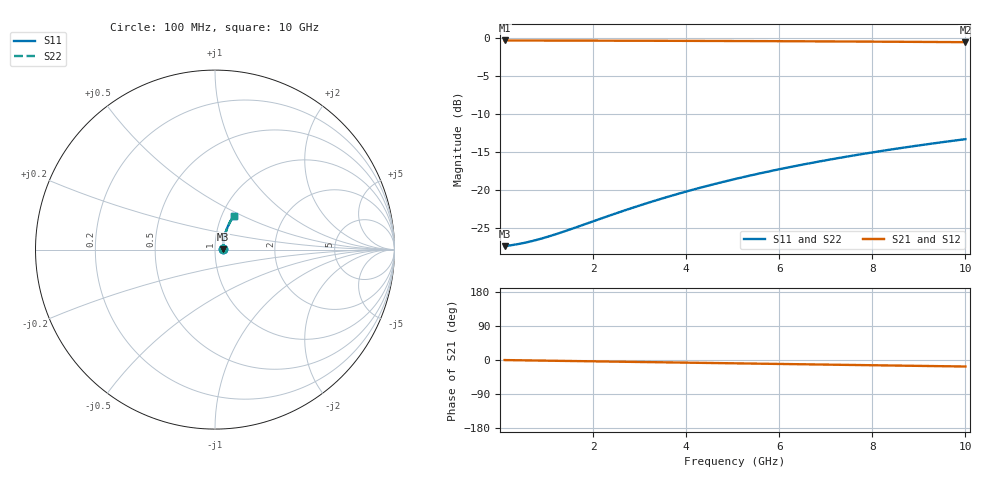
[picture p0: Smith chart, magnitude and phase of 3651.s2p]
# Hz S RI R 50.00
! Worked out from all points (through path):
!   100 points, 100 MHz to 10 GHz, reference 50 ohm
!   highest |S21| = -0.38 dB at 100 MHz (marker M1); lowest = -0.6 dB at 10 GHz (marker M2)
!   group delay of S21, straight-line fit = 4.78 ps
!   lowest |S11| = -27.4 dB at 100 MHz (marker M3), VSWR 1.09, Z = 54.4 + j0.223 ohm
!   |S11| at or under -10 dB: start of sweep to end of sweep
!   |S22| runs from -27.4 to -13.4 dB; largest |S21 - S12| = 0
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1e8  0.0425 0.00204  0.9575 -0.00292  0.9575 -0.00292  0.0425 0.00204
3e8  0.043 0.00612  0.957 -0.00876  0.957 -0.00876  0.043 0.00612
5e8  0.0434 0.0102  0.9566 -0.0146  0.9566 -0.0146  0.0434 0.0102
8e8  0.0439 0.0163  0.956 -0.0233  0.956 -0.0233  0.0439 0.0163
1e9  0.0443 0.0204  0.9556 -0.0291  0.9556 -0.0291  0.0443 0.0204
1.2e9  0.0447 0.0244  0.9552 -0.0349  0.9552 -0.0349  0.0447 0.0244
1.8e9  0.0462 0.0365  0.9537 -0.0523  0.9537 -0.0523  0.0462 0.0365
2.3e9  0.0477 0.0466  0.9521 -0.0668  0.9521 -0.0668  0.0477 0.0466
2.7e9  0.0491 0.0546  0.9506 -0.0783  0.9506 -0.0783  0.0491 0.0546
3.1e9  0.0506 0.0625  0.949 -0.0898  0.949 -0.0898  0.0506 0.0625
3.4e9  0.0519 0.0685  0.9476 -0.0983  0.9476 -0.0983  0.0519 0.0685
3.8e9  0.0538 0.0763  0.9456 -0.1097  0.9456 -0.1097  0.0538 0.0763
4.2e9  0.0559 0.0841  0.9434 -0.121  0.9434 -0.121  0.0559 0.0841
4.6e9  0.0581 0.0919  0.941 -0.1323  0.941 -0.1323  0.0581 0.0919
5.1e9  0.0612 0.1014  0.9378 -0.1463  0.9378 -0.1463  0.0612 0.1014
5.5e9  0.0638 0.109  0.935 -0.1573  0.935 -0.1573  0.0638 0.109
5.9e9  0.0666 0.1165  0.932 -0.1684  0.932 -0.1684  0.0666 0.1165
6.7e9  0.0727 0.1312  0.9254 -0.1901  0.9254 -0.1901  0.0727 0.1312
7.5e9  0.0795 0.1456  0.9182 -0.2115  0.9182 -0.2115  0.0795 0.1456
8.4e9  0.0879 0.1612  0.9092 -0.2351  0.9092 -0.2351  0.0879 0.1612
9.2e9  0.096 0.1746  0.9006 -0.2556  0.9006 -0.2556  0.096 0.1746
1e10  0.1047 0.1876  0.8913 -0.2757  0.8913 -0.2757  0.1047 0.1876
